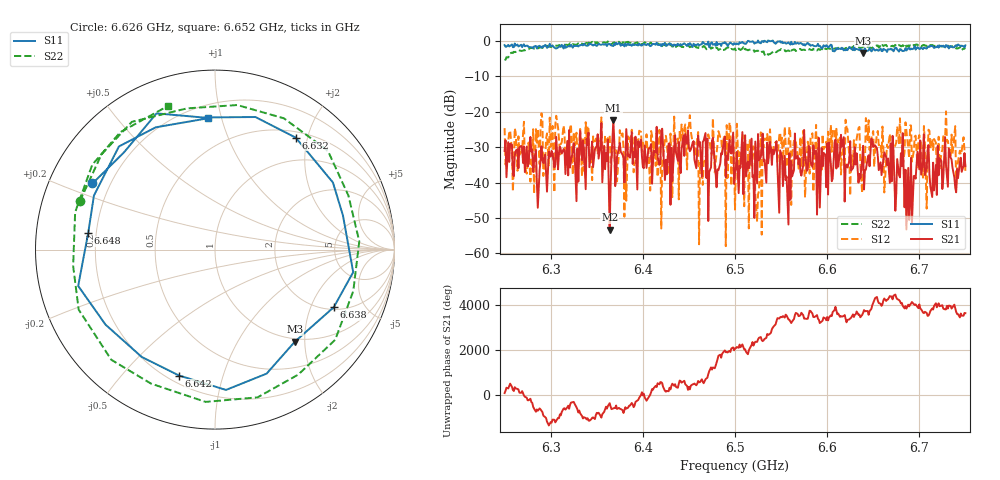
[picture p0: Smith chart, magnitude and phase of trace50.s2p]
# Hz S RI R 50
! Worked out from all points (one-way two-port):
!   401 points, 6.25 GHz to 6.75 GHz, reference 50 ohm
!   highest |S21| = -22.42 dB at 6.368 GHz (marker M1); lowest = -53.3 dB at 6.364 GHz (marker M2)
!   lowest |S11| = -3.4 dB at 6.639 GHz (marker M3), VSWR 5.23, Z = 47.2 - j89.8 ohm
!   |S11| at or under -10 dB: nowhere
!   |S22| runs from -5.3 to -0.1 dB; largest |S21 - S12| = 0.13
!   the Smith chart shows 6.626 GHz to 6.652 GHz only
!   S11 on the Smith chart (normalised r, x): 6.626 GHz: 0.13, +0.25; 6.632 GHz: 0.59, +1.80; 6.638 GHz: 2.11, -2.95; 6.642 GHz: 0.24, -0.73; 6.648 GHz: 0.17, +0.06; 6.652 GHz: 0.29, +0.90
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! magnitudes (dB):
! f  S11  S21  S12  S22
! 6.25 GHz  -1.2  -31.0  -24.6  -5.2
! 6.334 GHz  -1.0  -33.6  -38.2  -0.8
! 6.364 GHz  -0.9  -53.3  -26.6  -0.6
! 6.368 GHz  -1.4  -22.4  -30.0  -0.5
! 6.418 GHz  -1.1  -35.0  -25.1  -1.1
! 6.451 GHz  -0.6  -31.1  -21.0  -1.8
! 6.5 GHz  -0.8  -37.1  -47.6  -2.1
! 6.519 GHz  -0.1  -38.4  -32.0  -2.4
! 6.526 GHz  -0.4  -33.7  -42.4  -2.6
! 6.532 GHz  0.1  -33.5  -27.6  -3.8
! 6.584 GHz  -1.1  -35.6  -26.0  -2.6
! 6.626 GHz  -2.2  -36.6  -31.8  -1.9
! 6.632 GHz  -2.3  -31.7  -27.7  -1.7
! 6.638 GHz  -2.7  -33.4  -43.0  -1.9
! 6.639 GHz  -3.4  -29.6  -31.2  -1.5
! 6.642 GHz  -2.7  -36.3  -21.8  -1.4
! 6.648 GHz  -2.9  -27.6  -27.5  -2.0
! 6.652 GHz  -2.7  -29.5  -30.9  -1.5
! 6.668 GHz  -2.4  -40.1  -26.2  -1.3
! 6.686 GHz  -2.7  -53.2  -25.3  -1.7
! 6.702 GHz  -1.9  -37.7  -28.4  -1.5
! 6.75 GHz  -1.3  -35.4  -36.8  -2.2
